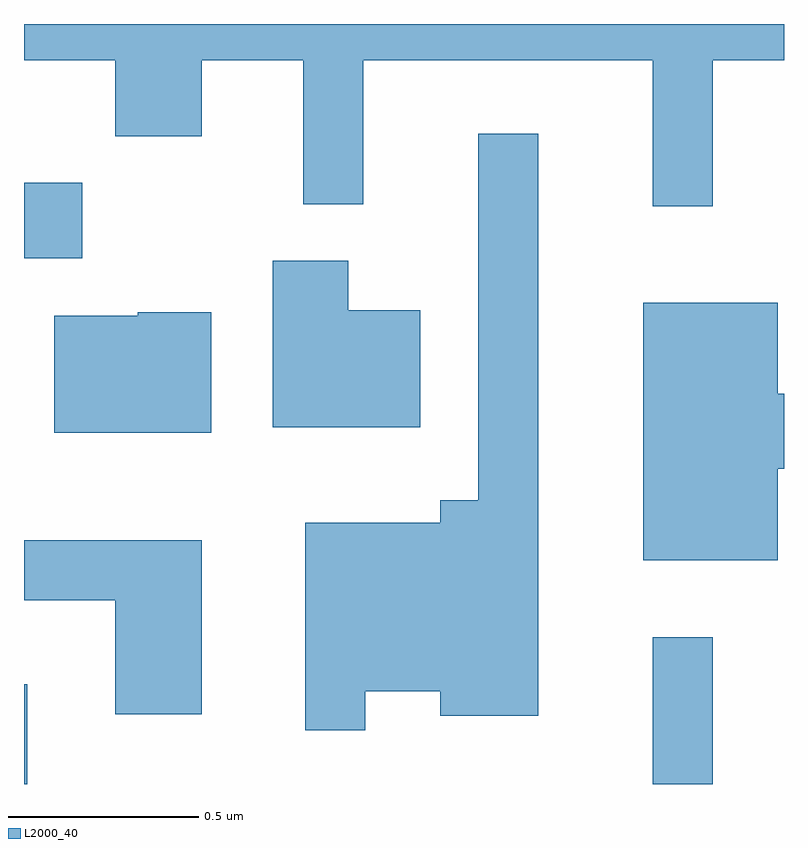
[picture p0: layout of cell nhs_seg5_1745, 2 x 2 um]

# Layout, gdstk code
import gdstk
lib = gdstk.Library(unit=1e-6, precision=1e-09)
def R(c, l, rs):  # rectangles x0, y0, x1, y1
    for r in rs: c.add(gdstk.rectangle(r[:2], r[2:], *l))
def P(c, l, *ps):  # polygons
    for p in ps: c.add(gdstk.Polygon(p, *l))
L2000_40 = (2000, 40)

nhs_seg5_1745 = lib.new_cell('nhs_seg5_1745')
R(nhs_seg5_1745, L2000_40, [(197.611,1497.072,197.619,1497.334), (199.266,1497.072,199.424,1497.458), (197.611,1498.456,197.764,1498.654)])
P(nhs_seg5_1745, L2000_40, [(199.424,1498.976),(199.611,1498.976),(199.611,1499.072),(197.611,1499.072),(197.611,1498.976),(197.851,1498.976),(197.851,1498.776),(198.079,1498.776),(198.079,1498.976),(198.346,1498.976),(198.346,1498.598),(198.504,1498.598),(198.504,1498.976),(199.266,1498.976),(199.266,1498.593),(199.424,1498.593)],
  [(198.509,1497.316),(198.706,1497.316),(198.706,1497.251),(198.964,1497.251),(198.964,1498.783),(198.806,1498.783),(198.806,1497.819),(198.706,1497.819),(198.706,1497.759),(198.351,1497.759),(198.351,1497.213),(198.509,1497.213)],
  [(198.654,1498.319),(198.464,1498.319),(198.464,1498.449),(198.266,1498.449),(198.266,1498.011),(198.654,1498.011)],
  [(199.594,1497.901),(199.611,1497.901),(199.611,1498.099),(199.594,1498.099),(199.594,1498.339),(199.241,1498.339),(199.241,1497.661),(199.594,1497.661)],
  [(198.104,1498.314),(197.91,1498.314),(197.91,1498.304),(197.691,1498.304),(197.691,1497.996),(198.104,1497.996)],
  [(198.079,1497.714),(197.611,1497.714),(197.611,1497.556),(197.851,1497.556),(197.851,1497.256),(198.079,1497.256)])

lib.write_gds('nhs_seg5_1745.gds')
